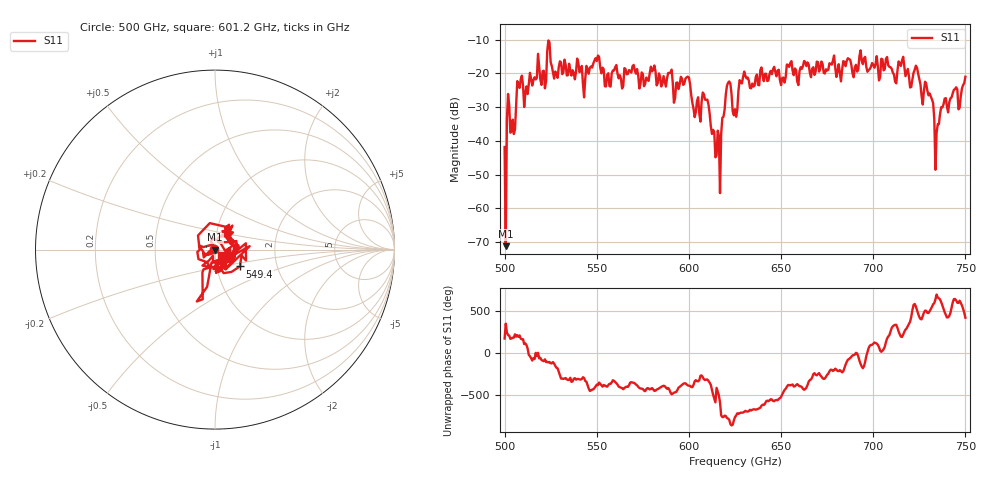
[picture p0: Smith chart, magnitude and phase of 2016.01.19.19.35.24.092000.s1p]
!Created with skrf (http://scikit-rf.org).
# GHz S RI R 50.0
!freq ReS11 ImS11
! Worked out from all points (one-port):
!   401 points, 500 GHz to 750 GHz, reference 50 ohm
!   lowest |S11| = -71.2 dB at 500.6 GHz (marker M1), VSWR 1.00, Z = 50 - j0.00376 ohm
!   |S11| at or under -10 dB: start of sweep to end of sweep
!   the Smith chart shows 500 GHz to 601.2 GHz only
!   S11 on the Smith chart (normalised r, x): 500 GHz: 0.98, +0.00; 549.4 GHz: 1.29, -0.25; 601.2 GHz: 1.07, -0.07
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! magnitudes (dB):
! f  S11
! 500 GHz  -41.8
! 500.6 GHz  -71.2
! 502.5 GHz  -29.4
! 504.4 GHz  -33.7
! 508.1 GHz  -24.3
! 521.2 GHz  -19.3
! 524.4 GHz  -10.9
! 527.5 GHz  -19.5
! 531.2 GHz  -20.3
! 543.8 GHz  -21.7
! 549.4 GHz  -15.5
! 562.5 GHz  -20.6
! 580.6 GHz  -19.0
! 593.8 GHz  -22.7
! 601.2 GHz  -26.5
! 603.1 GHz  -33.0
! 609.4 GHz  -27.9
! 615.6 GHz  -37.0
! 621.2 GHz  -22.8
! 625 GHz  -30.7
! 630.6 GHz  -20.7
! 656.2 GHz  -19.2
! 687.5 GHz  -16.0
! 718.8 GHz  -18.7
! 729.4 GHz  -25.2
! 734.4 GHz  -37.6
! 738.1 GHz  -29.2
! 750 GHz  -21.0
